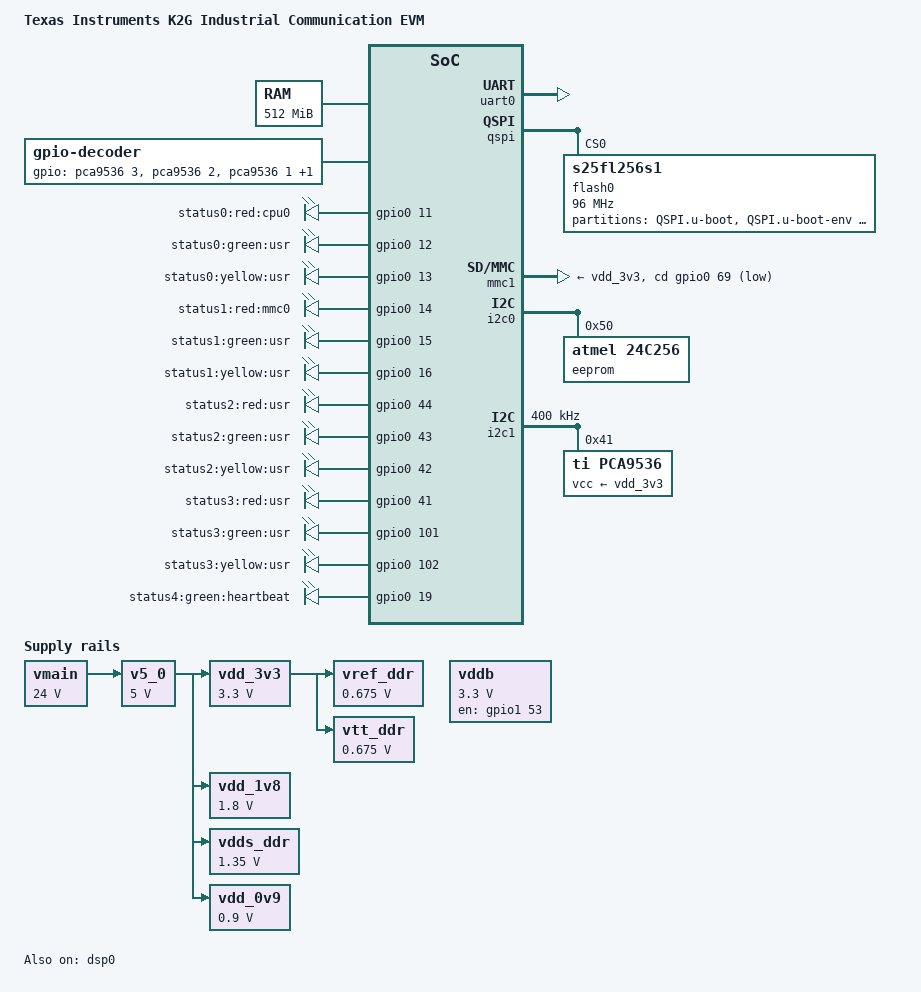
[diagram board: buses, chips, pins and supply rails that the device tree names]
/*
 * Device Tree Source for K2G Industrial Communication Engine EVM
 *
 * Copyright (C) 2017 Texas Instruments Incorporated - http://www.ti.com/
 *
 * SPDX-License-Identifier: GPL-2.0
 */
/dts-v1/;

#include "keystone-k2g.dtsi"

/ {
	compatible = "ti,k2g-ice", "ti,k2g", "ti,keystone";
	model = "Texas Instruments K2G Industrial Communication EVM";

	memory@800000000 {
		device_type = "memory";
		reg = <0x00000008 0x00000000 0x00000000 0x20000000>;
	};

	reserved-memory {
		#address-cells = <2>;
		#size-cells = <2>;
		ranges;

		dsp_common_memory: dsp-common-memory@81f800000 {
			compatible = "shared-dma-pool";
			reg = <0x00000008 0x1f800000 0x00000000 0x800000>;
			reusable;
			status = "okay";
		};
	};

	vmain: fixedregulator-vmain {
		compatible = "regulator-fixed";
		regulator-name = "vmain_fixed";
		regulator-min-microvolt = <24000000>;
		regulator-max-microvolt = <24000000>;
		regulator-always-on;
	};

	v5_0: fixedregulator-v5_0 {
		/* TPS54531 */
		compatible = "regulator-fixed";
		regulator-name = "v5_0_fixed";
		regulator-min-microvolt = <5000000>;
		regulator-max-microvolt = <5000000>;
		vin-supply = <&vmain>;
		regulator-always-on;
	};

	vdd_3v3: fixedregulator-vdd_3v3 {
		/* TLV62084 */
		compatible = "regulator-fixed";
		regulator-name = "vdd_3v3_fixed";
		regulator-min-microvolt = <3300000>;
		regulator-max-microvolt = <3300000>;
		vin-supply = <&v5_0>;
		regulator-always-on;
	};

	vdd_1v8: fixedregulator-vdd_1v8 {
		/* TLV62084 */
		compatible = "regulator-fixed";
		regulator-name = "vdd_1v8_fixed";
		regulator-min-microvolt = <1800000>;
		regulator-max-microvolt = <1800000>;
		vin-supply = <&v5_0>;
		regulator-always-on;
	};

	vdds_ddr: fixedregulator-vdds_ddr {
		/* TLV62080 */
		compatible = "regulator-fixed";
		regulator-name = "vdds_ddr_fixed";
		regulator-min-microvolt = <1350000>;
		regulator-max-microvolt = <1350000>;
		vin-supply = <&v5_0>;
		regulator-always-on;
	};

	vref_ddr: fixedregulator-vref_ddr {
		/* LP2996A */
		compatible = "regulator-fixed";
		regulator-name = "vref_ddr_fixed";
		regulator-min-microvolt = <675000>;
		regulator-max-microvolt = <675000>;
		vin-supply = <&vdd_3v3>;
		regulator-always-on;
	};

	vtt_ddr: fixedregulator-vtt_ddr {
		/* LP2996A */
		compatible = "regulator-fixed";
		regulator-name = "vtt_ddr_fixed";
		regulator-min-microvolt = <675000>;
		regulator-max-microvolt = <675000>;
		vin-supply = <&vdd_3v3>;
		regulator-always-on;
	};

	vdd_0v9: fixedregulator-vdd_0v9 {
		/* TPS62180 */
		compatible = "regulator-fixed";
		regulator-name = "vdd_0v9_fixed";
		regulator-min-microvolt = <900000>;
		regulator-max-microvolt = <900000>;
		vin-supply = <&v5_0>;
		regulator-always-on;
	};

	vddb: fixedregulator-vddb {
		/* TPS22945 */
		compatible = "regulator-fixed";
		regulator-name = "vddb_fixed";
		regulator-min-microvolt = <3300000>;
		regulator-max-microvolt = <3300000>;

		gpio = <&gpio1 53 GPIO_ACTIVE_HIGH>;
		enable-active-high;
	};

	gpio-decoder {
		compatible = "gpio-decoder";
		gpios = <&pca9536 3 GPIO_ACTIVE_HIGH>,
			<&pca9536 2 GPIO_ACTIVE_HIGH>,
			<&pca9536 1 GPIO_ACTIVE_HIGH>,
			<&pca9536 0 GPIO_ACTIVE_HIGH>;
		linux,axis = <0>; /* ABS_X */
		decoder-max-value = <9>;
	};

	leds1 {
		compatible = "gpio-leds";
		pinctrl-names = "default";
		pinctrl-0 = <&user_leds>;

		led0 {
			label = "status0:red:cpu0";
			gpios = <&gpio0 11 GPIO_ACTIVE_HIGH>;
			default-state = "off";
			linux,default-trigger = "cpu0";
		};

		led1 {
			label = "status0:green:usr";
			gpios = <&gpio0 12 GPIO_ACTIVE_HIGH>;
			default-state = "off";
		};

		led2 {
			label = "status0:yellow:usr";
			gpios = <&gpio0 13 GPIO_ACTIVE_HIGH>;
			default-state = "off";
		};

		led3 {
			label = "status1:red:mmc0";
			gpios = <&gpio0 14 GPIO_ACTIVE_HIGH>;
			default-state = "off";
			linux,default-trigger = "mmc0";
		};

		led4 {
			label = "status1:green:usr";
			gpios = <&gpio0 15 GPIO_ACTIVE_HIGH>;
			default-state = "off";
		};

		led5 {
			label = "status1:yellow:usr";
			gpios = <&gpio0 16 GPIO_ACTIVE_HIGH>;
			default-state = "off";
		};

		led6 {
			label = "status2:red:usr";
			gpios = <&gpio0 44 GPIO_ACTIVE_HIGH>;
			default-state = "off";
		};

		led7 {
			label = "status2:green:usr";
			gpios = <&gpio0 43 GPIO_ACTIVE_HIGH>;
			default-state = "off";
		};

		led8 {
			label = "status2:yellow:usr";
			gpios = <&gpio0 42 GPIO_ACTIVE_HIGH>;
			default-state = "off";
		};

		led9 {
			label = "status3:red:usr";
			gpios = <&gpio0 41 GPIO_ACTIVE_HIGH>;
			default-state = "off";
		};

		led10 {
			label = "status3:green:usr";
			gpios = <&gpio0 101 GPIO_ACTIVE_HIGH>;
			default-state = "off";
		};

		led11 {
			label = "status3:yellow:usr";
			gpios = <&gpio0 102 GPIO_ACTIVE_HIGH>;
			default-state = "off";
		};

		led12 {
			label = "status4:green:heartbeat";
			gpios = <&gpio0 19 GPIO_ACTIVE_HIGH>;
			linux,default-trigger = "heartbeat";
		};
	};
};

&k2g_pinctrl {
	uart0_pins: pinmux_uart0_pins {
		pinctrl-single,pins = <
			K2G_CORE_IOPAD(0x11cc) (BUFFER_CLASS_B | PULL_DISABLE | MUX_MODE0)	/* uart0_rxd.uart0_rxd */
			K2G_CORE_IOPAD(0x11d0) (BUFFER_CLASS_B | PIN_PULLDOWN | MUX_MODE0)	/* uart0_txd.uart0_txd */
		>;
	};

	qspi_pins: pinmux_qspi_pins {
		pinctrl-single,pins = <
			K2G_CORE_IOPAD(0x1204) (BUFFER_CLASS_B | PULL_DISABLE | MUX_MODE0) /* qspi_clk.qspi_clk */
			K2G_CORE_IOPAD(0x1208) (BUFFER_CLASS_B | PULL_DISABLE | MUX_MODE0) /* qspi_rclk.qspi_rclk */
			K2G_CORE_IOPAD(0x120c) (BUFFER_CLASS_B | PULL_DISABLE | MUX_MODE0) /* qspi_d0.qspi_d0 */
			K2G_CORE_IOPAD(0x1210) (BUFFER_CLASS_B | PULL_DISABLE | MUX_MODE0) /* qspi_d1.qspi_d1 */
			K2G_CORE_IOPAD(0x1214) (BUFFER_CLASS_B | PULL_DISABLE | MUX_MODE0) /* qspi_d2.qspi_d2 */
			K2G_CORE_IOPAD(0x1218) (BUFFER_CLASS_B | PULL_DISABLE | MUX_MODE0) /* qspi_d3.qspi_d3 */
			K2G_CORE_IOPAD(0x121c) (BUFFER_CLASS_B | PULL_DISABLE | MUX_MODE0) /* qspi_csn0.qspi_csn0 */
		>;
	};

	mmc1_pins: pinmux_mmc1_pins {
		pinctrl-single,pins = <
			K2G_CORE_IOPAD(0x10FC) (BUFFER_CLASS_B | PIN_PULLUP | MUX_MODE0)	/* mmc1_dat3.mmc1_dat3 */
			K2G_CORE_IOPAD(0x1100) (BUFFER_CLASS_B | PIN_PULLUP | MUX_MODE0)	/* mmc1_dat2.mmc1_dat2 */
			K2G_CORE_IOPAD(0x1104) (BUFFER_CLASS_B | PIN_PULLUP | MUX_MODE0)	/* mmc1_dat1.mmc1_dat1 */
			K2G_CORE_IOPAD(0x1108) (BUFFER_CLASS_B | PIN_PULLUP | MUX_MODE0)	/* mmc1_dat0.mmc1_dat0 */
			K2G_CORE_IOPAD(0x110C) (BUFFER_CLASS_B | PIN_PULLUP | MUX_MODE0)	/* mmc1_clk.mmc1_clk */
			K2G_CORE_IOPAD(0x1110) (BUFFER_CLASS_B | PIN_PULLUP | MUX_MODE0)	/* mmc1_cmd.mmc1_cmd */
			K2G_CORE_IOPAD(0x1114) (BUFFER_CLASS_B | PIN_PULLUP | MUX_MODE3)	/* mmc1_sdcd.gpio0_69 */
			K2G_CORE_IOPAD(0x1118) (BUFFER_CLASS_B | PIN_PULLUP | MUX_MODE0)	/* mmc1_sdwp.mmc1_sdwp */
			K2G_CORE_IOPAD(0x111C) (BUFFER_CLASS_B | PIN_PULLUP | MUX_MODE0)	/* mmc1_pow.mmc1_pow */
		>;
	};

	i2c0_pins: pinmux_i2c0_pins {
		pinctrl-single,pins = <
			K2G_CORE_IOPAD(0x137c) (BUFFER_CLASS_B | PIN_PULLUP | MUX_MODE0)	/* i2c0_scl.i2c0_scl */
			K2G_CORE_IOPAD(0x1380) (BUFFER_CLASS_B | PIN_PULLUP | MUX_MODE0)	/* i2c0_sda.i2c0_sda */
		>;
	};

	i2c1_pins: pinmux_i2c1_pins {
		pinctrl-single,pins = <
			K2G_CORE_IOPAD(0x1384) (BUFFER_CLASS_B | PIN_PULLUP | MUX_MODE0)	/* i2c1_scl.i2c1_scl */
			K2G_CORE_IOPAD(0x1388) (BUFFER_CLASS_B | PIN_PULLUP | MUX_MODE0)	/* i2c1_sda.i2c1_sda */
		>;
	};

	user_leds: pinmux_user_leds {
		pinctrl-single,pins = <
			K2G_CORE_IOPAD(0x102c) (BUFFER_CLASS_B | PIN_PULLUP | MUX_MODE3)	/* gpmc_ad11.gpio0_11 */
			K2G_CORE_IOPAD(0x1030) (BUFFER_CLASS_B | PIN_PULLUP | MUX_MODE3)	/* gpmc_ad12.gpio0_12 */
			K2G_CORE_IOPAD(0x1034) (BUFFER_CLASS_B | PIN_PULLUP | MUX_MODE3)	/* gpmc_ad13.gpio0_13 */
			K2G_CORE_IOPAD(0x1038) (BUFFER_CLASS_B | PIN_PULLUP | MUX_MODE3)	/* gpmc_ad14.gpio0_14 */
			K2G_CORE_IOPAD(0x103c) (BUFFER_CLASS_B | PIN_PULLUP | MUX_MODE3)	/* gpmc_ad15.gpio0_15 */
			K2G_CORE_IOPAD(0x1040) (BUFFER_CLASS_B | PIN_PULLUP | MUX_MODE3)	/* gpmc_clk.gpio0_16 */
			K2G_CORE_IOPAD(0x104c) (BUFFER_CLASS_B | PIN_PULLUP | MUX_MODE3)	/* gpmc_wen.gpio0_19 */
			K2G_CORE_IOPAD(0x10b0) (BUFFER_CLASS_B | PIN_PULLUP | MUX_MODE3)	/* dss_data9.gpio0_44 */
			K2G_CORE_IOPAD(0x10ac) (BUFFER_CLASS_B | PIN_PULLUP | MUX_MODE3)	/* dss_data10.gpio0_43 */
			K2G_CORE_IOPAD(0x10a8) (BUFFER_CLASS_B | PIN_PULLUP | MUX_MODE3)	/* dss_data11.gpio0_42 */
			K2G_CORE_IOPAD(0x10a4) (BUFFER_CLASS_B | PIN_PULLUP | MUX_MODE3)	/* dss_data12.gpio0_41 */
			K2G_CORE_IOPAD(0x11b8) (BUFFER_CLASS_B | PIN_PULLUP | MUX_MODE3)	/* spi2_scsn0.gpio0_101 */
			K2G_CORE_IOPAD(0x11bc) (BUFFER_CLASS_B | PIN_PULLUP | MUX_MODE3)	/* spi2_scsn1.gpio0_102 */
		>;
	};
};

&uart0 {
	pinctrl-names = "default";
	pinctrl-0 = <&uart0_pins>;
	status = "okay";
};

&dsp0 {
	memory-region = <&dsp_common_memory>;
	status = "okay";
};

&qspi {
	pinctrl-names = "default";
	pinctrl-0 = <&qspi_pins>;
	cdns,rclk-en;
	status = "okay";

	flash0: m25p80@0 {
		compatible = "s25fl256s1", "jedec,spi-nor";
		reg = <0>;
		spi-tx-bus-width = <1>;
		spi-rx-bus-width = <4>;
		spi-max-frequency = <96000000>;
		#address-cells = <1>;
		#size-cells = <1>;
		cdns,read-delay = <5>;
		cdns,tshsl-ns = <500>;
		cdns,tsd2d-ns = <500>;
		cdns,tchsh-ns = <119>;
		cdns,tslch-ns = <119>;

		partition@0 {
			label = "QSPI.u-boot";
			reg = <0x00000000 0x00100000>;
		};
		partition@1 {
			label = "QSPI.u-boot-env";
			reg = <0x00100000 0x00040000>;
		};
		partition@2 {
			label = "QSPI.skern";
			reg = <0x00140000 0x0040000>;
		};
		partition@3 {
			label = "QSPI.pmmc-firmware";
			reg = <0x00180000 0x0040000>;
		};
		partition@4 {
			label = "QSPI.kernel";
			reg = <0x001c0000 0x0800000>;
		};
		partition@5 {
			label = "QSPI.u-boot-spl-os";
			reg = <0x009c0000 0x0040000>;
		};
		partition@6 {
			label = "QSPI.file-system";
			reg = <0x00a00000 0x1600000>;
		};
	};
};

&gpio0 {
	status = "okay";
};

&gpio1 {
	status = "okay";
};

&mmc1 {
	pinctrl-names = "default";
	pinctrl-0 = <&mmc1_pins>;
	vmmc-supply = <&vdd_3v3>;
	cd-gpios = <&gpio0 69 GPIO_ACTIVE_LOW>;
	status = "okay";
};

&i2c0 {
	pinctrl-names = "default";
	pinctrl-0 = <&i2c0_pins>;
	status = "okay";

	eeprom@50 {
		compatible = "atmel,24c256";
		reg = <0x50>;
	};
};

&i2c1 {
	pinctrl-names = "default";
	pinctrl-0 = <&i2c1_pins>;
	status = "okay";
	clock-frequency = <400000>;

	pca9536: gpio@41 {
		compatible = "ti,pca9536";
		reg = <0x41>;
		gpio-controller;
		#gpio-cells = <2>;
		vcc-supply = <&vdd_3v3>;
	};
};
